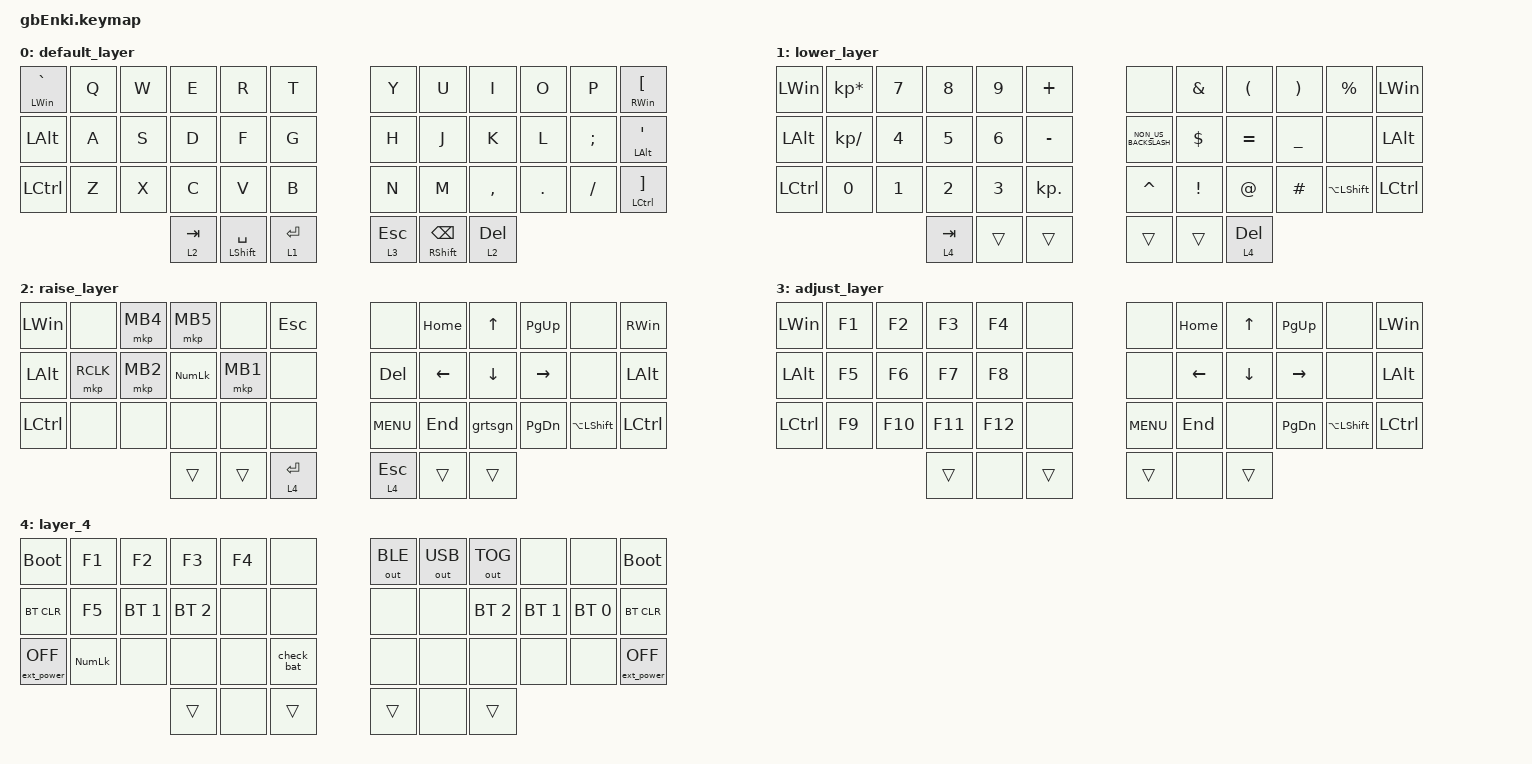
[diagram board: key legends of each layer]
/*
 * Copyright (c) 2020 The ZMK Contributors
 *
 * SPDX-License-Identifier: MIT
 */

#include <behaviors.dtsi>
#include <dt-bindings/zmk/bt.h>
#include <dt-bindings/zmk/ext_power.h>
#include <dt-bindings/zmk/keys.h>
#include <dt-bindings/zmk/outputs.h>
#include <dt-bindings/zmk/pointing.h>

#define DEF 0
#define LWR 1
#define RSE 2
#define ADJ 3

&lt { quick_tap_ms = <220>; };

&mt { quick_tap_ms = <220>; };

/ {
    macros {
        numdot: numdot {
            label = "ZM_numdot";
            compatible = "zmk,behavior-macro";
            #binding-cells = <0>;
            wait-ms = <40>;
            tap-ms = <40>;
            bindings =
                <&macro_press>,
                <&kp LALT>,
                <&macro_tap>,
                <&kp KP_N4 &kp KP_N6>,
                <&macro_release>,
                <&kp LALT>;
        };

        grtsgn: grtsgn {
            label = "ZM_grtsgn";
            compatible = "zmk,behavior-macro";
            #binding-cells = <0>;
            wait-ms = <40>;
            tap-ms = <40>;
            bindings =
                <&macro_press>,
                <&kp LALT>,
                <&macro_tap>,
                <&kp KP_N6 &kp KP_N2>,
                <&macro_release>,
                <&kp LALT>;
        };
    };
};

/ {
    keymap {
        compatible = "zmk,keymap";

        default_layer {
            // ------------------------------------------------------------------------------------------------
            //| LGUI/] |  Q  |  W  |  E  |  R  |  T  |   |  Y  |  U   |  I  |  O  |  P  | RGUI/[ | 
            //| CTRL/` |  A  |  S  |  D  |  F  |  G  |   |  H  |  J   |  K  |  L  |  ;  | CTRL/' |
            //| LALT/\ |  Z  |  X  |  C  |  V  |  B  |   |  N  |  M   |  ,  |  .  |  /  | RALT/- |
            //                             | RSE | SPC | LWR |   | LWR | BKSP | RSE |

            bindings = <
&mt LWIN GRAVE  &kp Q  &kp W  &kp E      &kp R            &kp T        &kp Y      &kp U           &kp I      &kp O    &kp P     &mt RWIN LBKT
&kp LEFT_ALT    &kp A  &kp S  &kp D      &kp F            &kp G        &kp H      &kp J           &kp K      &kp L    &kp SEMI  &mt LEFT_ALT SQT
&kp LCTRL       &kp Z  &kp X  &kp C      &kp V            &kp B        &kp N      &kp M           &kp COMMA  &kp DOT  &kp FSLH  &mt LEFT_CONTROL RIGHT_BRACKET
                              &lt 2 TAB  &mt LSHFT SPACE  &lt 1 RET    &lt 3 ESC  &mt RSHFT BSPC  &lt 2 DEL
            >;
        };

        lower_layer {
            // -----------------------------------------------------------------------------------------
            //|LGUI/CAPS |  *  |  7 |  8  |  9  |  +  |    |  !  |  @  |  #  |  $  |  %  | RGUI/F1 |
            //|CTRL/MENU |  /  |  4 |  5  |  6  |  -  |    |  ^  |  &  |  *  |  (  |  )  | CTRL/F2 |
            //|  LALT/=  |  0  |  1 |  4  |  3  |  .  |    |  ls |  F4 |  F5 |  F6 |  F7 | RALT/F3 |
            //                      | ADJ | ___ | ___ |    | ___ | ___ | ADJ |

            bindings = <
&kp LWIN      &kp KP_MULTIPLY  &kp N7  &kp N8     &kp N9  &kp PLUS      &none                 &kp AMPERSAND    &kp LEFT_PARENTHESIS  &kp RIGHT_PARENTHESIS  &kp PERCENT         &kp LEFT_WIN
&kp LEFT_ALT  &kp KP_SLASH     &kp N4  &kp N5     &kp N6  &kp MINUS     &kp NON_US_BACKSLASH  &kp DOLLAR       &kp EQUAL             &kp UNDERSCORE         &none               &kp LEFT_ALT
&kp LCTRL     &kp N0           &kp N1  &kp N2     &kp N3  &kp KP_DOT    &kp CARET             &kp EXCLAMATION  &kp AT_SIGN           &kp HASH               &kp LA(LEFT_SHIFT)  &kp LCTRL
                                       &lt 4 TAB  &trans  &trans        &trans                &trans           &lt 4 DEL
            >;
        };

        raise_layer {
            // -----------------------------------------------------------------------------------------
            //| LGUI |  VOLU  |  PGUP  | PLAY | HOME | ___  |            | ___  | HOME | PLAY| PGUP | VOLU | RGUI |
            //| CTRL |  VOLD  |  LEFT  |  UP  | DOWN | RGHT |            | RGHT | DOWN | UP  | LEFT | VOLD | CTRL | 
            //| LALT |  MUTE  |  PGDN  |  ___ | END  | ___  |            | ___  | END  | ___ | PGDN | MUTE | RALT |
            //                          | ___ | ___  | ADJ  |            | ADJ  | ___  | ___ |

            bindings = <
&kp LWIN      &none      &mkp MB4  &mkp MB5        &none     &kp ESC      &none       &kp HOME        &kp UP_ARROW    &kp PG_UP  &none               &kp RWIN
&kp LEFT_ALT  &mkp RCLK  &mkp MB2  &kp KP_NUMLOCK  &mkp MB1  &none        &kp DELETE  &kp LEFT_ARROW  &kp DOWN_ARROW  &kp RIGHT  &none               &kp LEFT_ALT
&kp LCTRL     &none      &none     &none           &none     &none        &kp C_MENU  &kp END         &grtsgn         &kp PG_DN  &kp LA(LEFT_SHIFT)  &kp LCTRL
                                   &trans          &trans    &lt 4 RET    &lt 4 ESC   &trans          &trans
            >;
        };

        adjust_layer {
            // -----------------------------------------------------------------------------------------
            //| BLDR |     |     |     |     |     |   |     |     |     |     |     | BLDR |
            //| BTCLR| BT0 | BT1 | BT2 | BT3 | BT4 |   | BT4 | BT3 | BT2 | BT1 | BT0 | BTCLR|
            //|pwrOFF|NUMLK|     |     |     |     |   |     |     |     |     |     |      |
            //                   |     |     |     |   |     |     |     |

            bindings = <
&kp LEFT_WIN  &kp F1  &kp F2   &kp F3   &kp F4   &none     &none       &kp HOME        &kp UP_ARROW    &kp PAGE_UP      &none               &kp LEFT_WIN
&kp LEFT_ALT  &kp F5  &kp F6   &kp F7   &kp F8   &none     &none       &kp LEFT_ARROW  &kp DOWN_ARROW  &kp RIGHT_ARROW  &none               &kp LEFT_ALT
&kp LCTRL     &kp F9  &kp F10  &kp F11  &kp F12  &none     &kp C_MENU  &kp END         &none           &kp PAGE_DOWN    &kp LA(LEFT_SHIFT)  &kp LCTRL
                               &trans   &none    &trans    &trans      &none           &trans
            >;
        };

        layer_4 {
            bindings = <
&bootloader        &kp F1      &kp F2        &kp F3        &kp F4  &none         &out OUT_BLE  &out OUT_USB  &out OUT_TOG  &none         &none         &bootloader
&bt BT_CLR         &kp F5      &bt BT_SEL 1  &bt BT_SEL 2  &none   &none         &none         &none         &bt BT_SEL 2  &bt BT_SEL 1  &bt BT_SEL 0  &bt BT_CLR
&ext_power EP_OFF  &kp KP_NUM  &none         &none         &none   &check_bat    &none         &none         &none         &none         &none         &ext_power EP_OFF
                                             &trans        &none   &trans        &trans        &none         &trans
            >;
        };
    };
};
